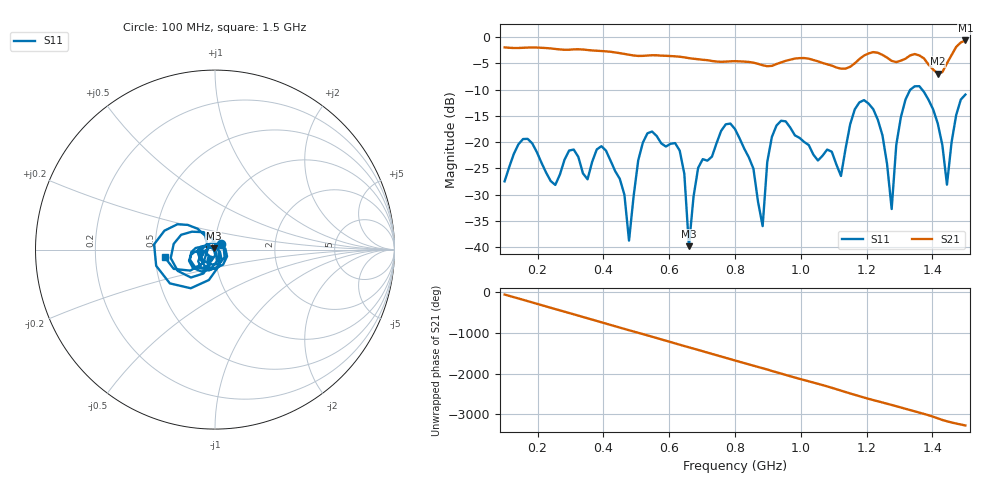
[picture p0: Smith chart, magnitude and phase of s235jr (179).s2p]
! NanoVNA-App
! Date: 2025-09-25 15:05:33
! Start: 100MHz Stop: 1,5GHz Points: 101
! S-Parameter data: F S11 S21 S12 S22
# Hz S RI R 50
!  Frequency  S11_Real  S11_Imag  S21_Real  S21_Imag  S12_Real  S12_Imag  S22_Real  S22_Imag
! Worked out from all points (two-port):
!   101 points, 100 MHz to 1.5 GHz, reference 50 ohm
!   highest |S21| = -0.64 dB at 1.5 GHz (marker M1); lowest = -6.9 dB at 1.416 GHz (marker M2)
!   |S21| within 3 dB of the highest: start of sweep to 612.4 MHz; 1.189 GHz to 1.255 GHz (65.35 MHz wide, 5.35 % of centre) (the widest 2 of 4)
!   lowest |S11| = -39.8 dB at 660 MHz (marker M3), VSWR 1.02, Z = 49.2 + j0.609 ohm
!   |S11| at or under -10 dB: start of sweep to 1.333 GHz; 1.368 GHz to end of sweep
!   S12 and S22 are empty: the file has one direction only
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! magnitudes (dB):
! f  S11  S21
! 100 MHz  -27.5  -2.0
! 156 MHz  -19.4  -2.0
! 338 MHz  -26.0  -2.4
! 408 MHz  -21.6  -2.7
! 478 MHz  -38.8  -3.4
! 520 MHz  -20.1  -3.6
! 576 MHz  -20.2  -3.5
! 632 MHz  -21.6  -3.7
! 660 MHz  -39.8  -4.0
! 688 MHz  -24.9  -4.2
! 800 MHz  -17.5  -4.6
! 884 MHz  -36.0  -5.4
! 926 MHz  -16.9  -5.1
! 1.038 GHz  -22.4  -4.4
! 1.122 GHz  -26.5  -6.0
! 1.192 GHz  -12.0  -3.5
! 1.248 GHz  -18.7  -3.4
! 1.276 GHz  -32.7  -4.5
! 1.332 GHz  -10.1  -3.5
! 1.416 GHz  -16.4  -6.9
! 1.444 GHz  -28.1  -5.0
! 1.5 GHz  -11.0  -0.6
